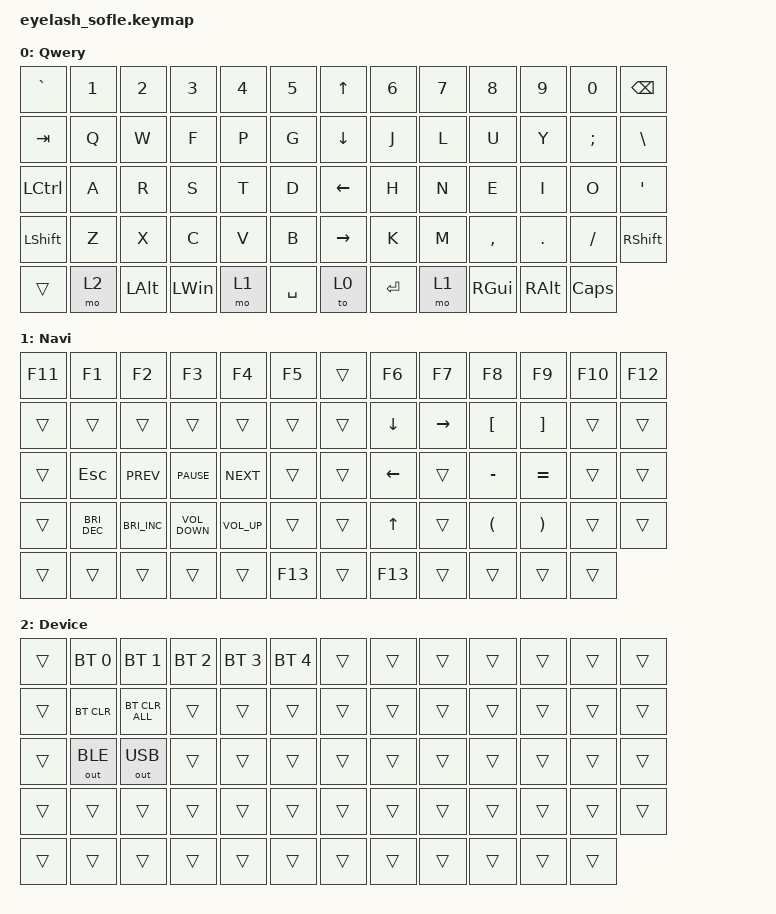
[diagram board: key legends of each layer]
#define ZMK_POINTING_DEFAULT_MOVE_VAL 1200  // 600
#define ZMK_POINTING_DEFAULT_SCRL_VAL 25   // 10

#include <input/processors.dtsi>
#include <zephyr/dt-bindings/input/input-event-codes.h>
#include <behaviors.dtsi>
#include <dt-bindings/zmk/bt.h>
#include <dt-bindings/zmk/keys.h>
#include <dt-bindings/zmk/outputs.h>
#include <dt-bindings/zmk/pointing.h>

&mmv_input_listener { input-processors = <&zip_xy_scaler 2 1>; };

&msc_input_listener { input-processors = <&zip_scroll_scaler 2 1>; };

&msc {
    acceleration-exponent = <1>;      // 0
    time-to-max-speed-ms = <100>;       // 300
    delay-ms = <0>;                   // 0
};

&mmv {
    time-to-max-speed-ms = <500>;
    acceleration-exponent = <1>;
    trigger-period-ms = <16>;
};

&soft_off { hold-time-ms = <2000>; };

/ {
    scroll_encoder: scroll_encoder {
        compatible = "zmk,behavior-sensor-rotate";
        #sensor-binding-cells = <0>;
        bindings = <&msc SCRL_DOWN>, <&msc SCRL_UP>;

        tap-ms = <100>;
    };

    behaviors {
    };

    combos {
        compatible = "zmk,combos";

        softoff {
            bindings = <&soft_off>;
            key-positions = <14 28 40>;
        };
    };

    keymap {
        compatible = "zmk,keymap";

        L0 {
            bindings = <
&kp GRAVE         &kp N1  &kp N2    &kp N3        &kp N4  &kp N5       &kp UP_ARROW     &kp N6     &kp N7  &kp N8         &kp N9      &kp N0         &kp BACKSPACE
&kp TAB           &kp Q   &kp W     &kp F         &kp P   &kp G        &kp DOWN_ARROW   &kp J      &kp L   &kp U          &kp Y       &kp SEMICOLON  &kp BACKSLASH
&kp LEFT_CONTROL  &kp A   &kp R     &kp S         &kp T   &kp D        &kp LEFT_ARROW   &kp H      &kp N   &kp E          &kp I       &kp O          &kp SINGLE_QUOTE
&kp LSHFT         &kp Z   &kp X     &kp C         &kp V   &kp B        &kp RIGHT_ARROW  &kp K      &kp M   &kp COMMA      &kp PERIOD  &kp SLASH      &kp RIGHT_SHIFT
&trans            &mo 2   &kp LALT  &kp LEFT_WIN  &mo 1   &kp SPACE    &to 0            &kp ENTER  &mo 1   &kp RIGHT_GUI  &kp RALT    &kp CAPS
            >;

            display-name = "Qwery";
        };

        L1 {
            bindings = <
&kp F11  &kp F1                &kp F2                &kp F3             &kp F4           &kp F5     &trans  &kp F6          &kp F7     &kp F8                &kp F9                 &kp F10  &kp F12
&trans   &trans                &trans                &trans             &trans           &trans     &trans  &kp DOWN_ARROW  &kp RIGHT  &kp LEFT_BRACKET      &kp RIGHT_BRACKET      &trans   &trans
&trans   &kp ESCAPE            &kp C_PREV            &kp C_PAUSE        &kp C_NEXT       &trans     &trans  &kp LEFT_ARROW  &trans     &kp MINUS             &kp EQUAL              &trans   &trans
&trans   &kp C_BRIGHTNESS_DEC  &kp C_BRIGHTNESS_INC  &kp C_VOLUME_DOWN  &kp C_VOLUME_UP  &trans     &trans  &kp UP_ARROW    &trans     &kp LEFT_PARENTHESIS  &kp RIGHT_PARENTHESIS  &trans   &trans
&trans   &trans                &trans                &trans             &trans           &kp F13    &trans  &kp F13         &trans     &trans                &trans                 &trans
            >;

            label = "Navi";
        };

        L2 {
            bindings = <
&trans  &bt BT_SEL 0  &bt BT_SEL 1    &bt BT_SEL 2  &bt BT_SEL 3  &bt BT_SEL 4    &trans  &trans  &trans  &trans  &trans  &trans  &trans
&trans  &bt BT_CLR    &bt BT_CLR_ALL  &trans        &trans        &trans          &trans  &trans  &trans  &trans  &trans  &trans  &trans
&trans  &out OUT_BLE  &out OUT_USB    &trans        &trans        &trans          &trans  &trans  &trans  &trans  &trans  &trans  &trans
&trans  &trans        &trans          &trans        &trans        &trans          &trans  &trans  &trans  &trans  &trans  &trans  &trans
&trans  &trans        &trans          &trans        &trans        &trans          &trans  &trans  &trans  &trans  &trans  &trans
            >;

            label = "Device";
        };
    };
};
